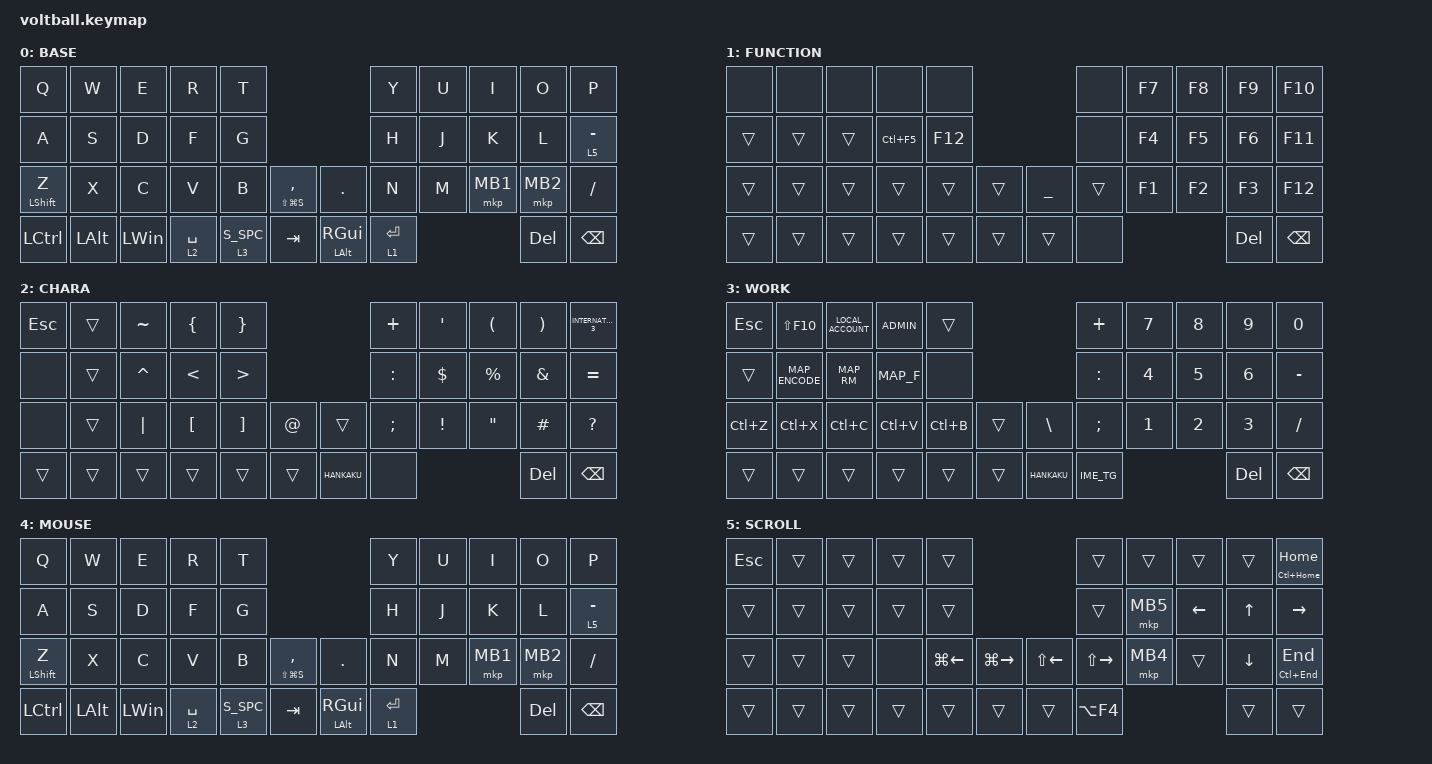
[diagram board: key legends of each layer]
/*
 * SPDX-License-Identifier: MIT
 */

#include <input/processors.dtsi>
#include <dt-bindings/zmk/input_transform.h>
#include <zephyr/dt-bindings/input/input-event-codes.h>
#include <behaviors.dtsi>
#include <dt-bindings/zmk/bt.h>
#include <dt-bindings/zmk/keys.h>
#include <dt-bindings/zmk/pointing.h>

/ {
    combos {
        compatible = "zmk,combos";

        BT1 {
            bindings = <&bt BT_SEL 0>;
            key-positions = <5 7>;
        };

        BT2 {
            bindings = <&bt BT_SEL 1>;
            key-positions = <15 17>;
        };

        BT3 {
            bindings = <&bt BT_SEL 2>;
            key-positions = <6 8>;
        };

        BT4 {
            bindings = <&bt BT_SEL 3>;
            key-positions = <16 18>;
        };

        BT_CL_A {
            bindings = <&bt BT_CLR_ALL>;
            key-positions = <27 31>;
        };

        BT_CL {
            bindings = <&bt BT_CLR>;
            key-positions = <5 9>;
        };

        PIN {
            bindings = <&PIN>;
            key-positions = <0 10>;
        };

        PW {
            bindings = <&PW>;
            key-positions = <32 20>;
        };

        MIDDLE_CLICK {
            bindings = <&mkp MB3>;
            key-positions = <29 30>;
        };
    };

    behaviors {
        lt_sspc: lt_sspc {
            compatible = "zmk,behavior-hold-tap";
            label = "LT_SSPC";
            bindings = <&mo>, <&S_SPC>;

            #binding-cells = <2>;
            tapping-term-ms = <200>;
            quick-tap-ms = <180>;
        };

        hm: hm {
            compatible = "zmk,behavior-hold-tap";
            label = "HM";
            bindings = <&kp>, <&kp>;

            #binding-cells = <2>;
            quick-tap-ms = <180>;
            flavor = "tap-preferred";
            hold-trigger-on-release;
            tapping-term-ms = <300>;
        };

        ltq: ltq {
            compatible = "zmk,behavior-hold-tap";
            label = "LTQ";
            bindings = <&mo>, <&kp>;

            #binding-cells = <2>;
            tapping-term-ms = <200>;
            quick-tap-ms = <180>;
        };
    };

    macros {
        IME_TG: IME_TG {
            compatible = "zmk,behavior-macro";
            #binding-cells = <0>;
            bindings = <&kp LA(GRAVE)>;
            label = "IME_TG";
        };

        S_SPC: S_SPC {
            compatible = "zmk,behavior-macro";
            #binding-cells = <0>;
            bindings = <&kp LS(SPACE)>;
            label = "S_SPC";
        };

        PIN: PIN {
            compatible = "zmk,behavior-macro";
            #binding-cells = <0>;
            bindings = <&kp N0 &kp N8 &kp N0 &kp N9 &kp NUMBER_2 &kp N7>;
            label = "PIN";
        };

        HANKAKU: IME {
            compatible = "zmk,behavior-macro";
            #binding-cells = <0>;
            bindings = <&kp F10 &kp ENTER>;
            label = "IME";
        };

        PW: PW {
            compatible = "zmk,behavior-macro";
            #binding-cells = <0>;
            bindings = <&kp N7 &kp N7 &kp LBKT &kp LS(G) &kp LS(S) &kp LS(S) &kp LS(G) &kp LS(S) &kp LS(S) &kp N2 &kp N0 &kp N1 &kp N9>;
            label = "PW";
        };

        LOCAL_ACCOUNT: LOCAL_ACCOUNT {
            compatible = "zmk,behavior-macro";
            #binding-cells = <0>;
            bindings = <&kp O &kp O &kp B &kp E &kp BSLH &kp B &kp Y &kp P &kp A &kp S &kp S &kp N &kp R &kp O &kp DOT &kp C &kp M &kp D &kp ENTER>;
            label = "LOCAL_ACCOUNT";
        };

        ADMIN: ADMIN {
            compatible = "zmk,behavior-macro";
            #binding-cells = <0>;
            bindings =
                <&kp A &kp D &kp M &kp I &kp N &kp ENTER>,
                <&macro_wait_time 1000>,
                <&kp ENTER>,
                <&macro_wait_time 6000>,
                <&kp ENTER &kp ENTER &kp ENTER &kp ENTER>;

            label = "ADMIN";
        };

        MAP_RM: MAP_RM {
            compatible = "zmk,behavior-macro";
            #binding-cells = <0>;
            bindings = <&kp LS(R) &kp LS(M)>;
            label = "MAP_RM";
        };

        MAP_F: MAP_F {
            compatible = "zmk,behavior-macro";
            #binding-cells = <0>;
            bindings = <&kp LS(F)>;
            label = "MAP_F";
        };

        MAP_ENCODE: MAP_ENCODE {
            compatible = "zmk,behavior-macro";
            #binding-cells = <0>;
            bindings = <&kp LS(LA(F12))>;
            label = "MAP_ENCODE";
        };
    };

    keymap {
        compatible = "zmk,keymap";

        default_layer {
            bindings = <
&kp Q             &kp W         &kp E         &kp R        &kp T                                                          &kp Y         &kp U  &kp I     &kp O       &kp P
&kp A             &kp S         &kp D         &kp F        &kp G                                                          &kp H         &kp J  &kp K     &kp L       &lt 5 MINUS
&mt LEFT_SHIFT Z  &kp X         &kp C         &kp V        &kp B         &mt LS(LG(S)) COMMA      &kp PERIOD              &kp N         &kp M  &mkp MB1  &mkp MB2    &kp SLASH
&kp LCTRL         &kp LEFT_ALT  &kp LEFT_WIN  &lt 2 SPACE  &lt_sspc 3 0  &kp TAB                  &mt LEFT_ALT RIGHT_GUI  &ltq 1 ENTER                   &kp DELETE  &kp BACKSPACE
            >;

            display-name = "BASE";
        };

        FUNCTION {
            bindings = <
&none   &none   &none   &none       &none                                &none   &kp F7  &kp F8  &kp F9      &kp F10
&trans  &trans  &trans  &kp LC(F5)  &kp F12                              &none   &kp F4  &kp F5  &kp F6      &kp F11
&trans  &trans  &trans  &trans      &trans   &trans      &kp UNDERSCORE  &trans  &kp F1  &kp F2  &kp F3      &kp F12
&trans  &trans  &trans  &trans      &trans   &trans      &trans          &none                   &kp DELETE  &kp BACKSPACE
            >;

            display-name = "FUNCTION";
        };

        CHARA {
            bindings = <
&kp ESC  &trans  &kp TILDE  &kp LEFT_BRACE    &kp RIGHT_BRACE                          &kp PLUS       &kp SQT          &kp LEFT_PARENTHESIS  &kp RIGHT_PARENTHESIS  &kp INTERNATIONAL_3
&none    &trans  &kp CARET  &kp LESS_THAN     &kp GREATER_THAN                         &kp COLON      &kp DOLLAR       &kp PERCENT           &kp AMPERSAND          &kp EQUAL
&none    &trans  &kp PIPE   &kp LEFT_BRACKET  &kp RIGHT_BRACKET  &kp AT      &trans    &kp SEMICOLON  &kp EXCLAMATION  &kp DOUBLE_QUOTES     &kp HASH               &kp QUESTION
&trans   &trans  &trans     &trans            &trans             &trans      &HANKAKU  &none                                                 &kp DELETE             &kp BACKSPACE
            >;

            display-name = "CHARA";
        };

        WORK {
            bindings = <
&kp ESC    &kp LS(F10)  &LOCAL_ACCOUNT  &ADMIN     &trans                                &kp PLUS   &kp N7  &kp N8  &kp N9      &kp N0
&trans     &MAP_ENCODE  &MAP_RM         &MAP_F     &none                                 &kp COLON  &kp N4  &kp N5  &kp N6      &kp MINUS
&kp LC(Z)  &kp LC(X)    &kp LC(C)       &kp LC(V)  &kp LC(B)  &trans      &kp BACKSLASH  &kp SEMI   &kp N1  &kp N2  &kp N3      &kp FSLH
&trans     &trans       &trans          &trans     &trans     &trans      &HANKAKU       &IME_TG                    &kp DELETE  &kp BSPC
            >;
        };

        MOUSE {
            bindings = <
&kp Q             &kp W         &kp E         &kp R        &kp T                                                          &kp Y         &kp U  &kp I     &kp O       &kp P
&kp A             &kp S         &kp D         &kp F        &kp G                                                          &kp H         &kp J  &kp K     &kp L       &lt 5 MINUS
&mt LEFT_SHIFT Z  &kp X         &kp C         &kp V        &kp B         &mt LS(LG(S)) COMMA      &kp PERIOD              &kp N         &kp M  &mkp MB1  &mkp MB2    &kp SLASH
&kp LCTRL         &kp LEFT_ALT  &kp LEFT_WIN  &lt 2 SPACE  &lt_sspc 3 0  &kp TAB                  &mt LEFT_ALT RIGHT_GUI  &ltq 1 ENTER                   &kp DELETE  &kp BACKSPACE
            >;

            display-name = "MOUSE";
        };

        SCROLL {
            bindings = <
&kp ESCAPE  &trans  &trans  &trans  &trans                                               &trans         &trans    &trans    &trans          &mt LC(HOME) HOME
&trans      &trans  &trans  &trans  &trans                                               &trans         &mkp MB5  &kp LEFT  &kp UP_ARROW    &kp RIGHT
&trans      &trans  &trans  &none   &kp LG(LEFT)  &kp LG(RIGHT)      &kp LS(LEFT_ARROW)  &kp LS(RIGHT)  &mkp MB4  &trans    &kp DOWN_ARROW  &mt LC(END) END
&trans      &trans  &trans  &trans  &trans        &trans             &trans              &kp LA(F4)                         &trans          &trans
            >;
        };
    };
};
